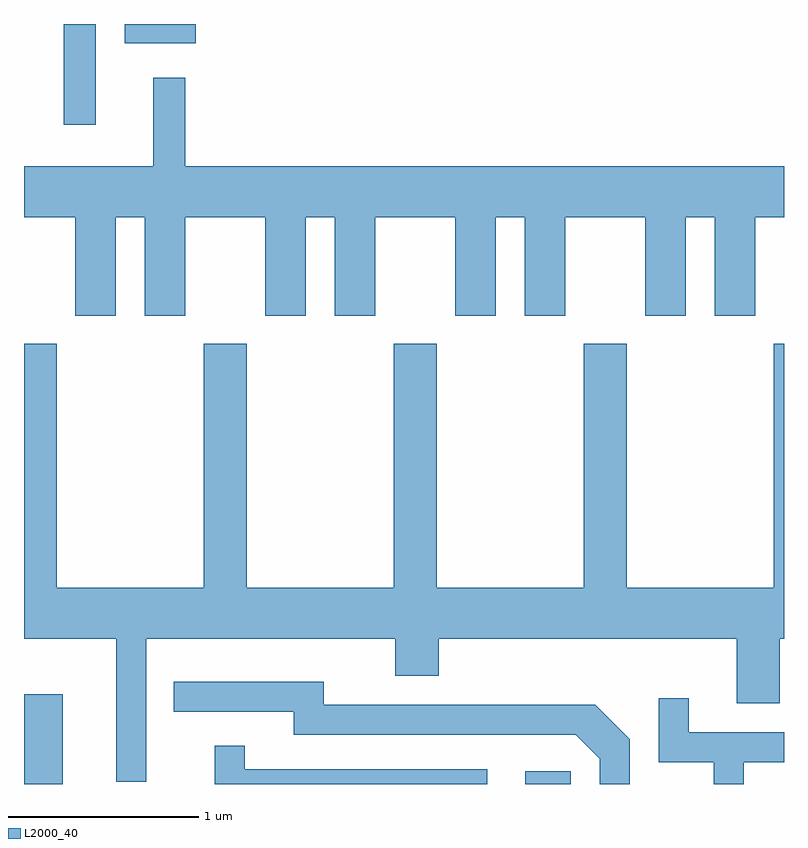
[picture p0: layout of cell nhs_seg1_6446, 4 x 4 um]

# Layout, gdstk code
import gdstk
lib = gdstk.Library(unit=1e-6, precision=1e-09)
def R(c, l, rs):  # rectangles x0, y0, x1, y1
    for r in rs: c.add(gdstk.rectangle(r[:2], r[2:], *l))
def P(c, l, *ps):  # polygons
    for p in ps: c.add(gdstk.Polygon(p, *l))
L2000_40 = (2000, 40)

nhs_seg1_6446 = lib.new_cell('nhs_seg1_6446')
R(nhs_seg1_6446, L2000_40, [(379.611,887.712,379.814,888.184), (382.248,887.712,382.489,887.779), (379.821,891.183,379.989,891.712), (380.141,891.611,380.514,891.712)])
P(nhs_seg1_6446, L2000_40, [(380.094,890.696),(380.246,890.696),(380.246,890.176),(380.459,890.176),(380.459,890.696),(380.881,890.696),(380.881,890.176),(381.094,890.176),(381.094,890.696),(381.246,890.696),(381.246,890.176),(381.459,890.176),(381.459,890.696),(381.881,890.696),(381.881,890.176),(382.094,890.176),(382.094,890.696),(382.246,890.696),(382.246,890.176),(382.459,890.176),(382.459,890.696),(382.881,890.696),(382.881,890.176),(383.094,890.176),(383.094,890.696),(383.246,890.696),(383.246,890.176),(383.459,890.176),(383.459,890.696),(383.611,890.696),(383.611,890.964),(380.459,890.964),(380.459,891.428),(380.291,891.428),(380.291,890.964),(379.611,890.964),(379.611,890.696),(379.881,890.696),(379.881,890.176),(380.094,890.176)],
  [(380.254,888.476),(381.566,888.476),(381.566,888.281),(381.794,888.281),(381.794,888.476),(383.361,888.476),(383.361,888.136),(383.589,888.136),(383.589,888.476),(383.611,888.476),(383.611,890.029),(383.556,890.029),(383.556,888.744),(382.784,888.744),(382.784,890.029),(382.556,890.029),(382.556,888.744),(381.784,888.744),(381.784,890.029),(381.556,890.029),(381.556,888.744),(380.784,888.744),(380.784,890.029),(380.556,890.029),(380.556,888.744),(379.784,888.744),(379.784,890.029),(379.611,890.029),(379.611,888.476),(380.096,888.476),(380.096,887.723),(380.254,887.723)],
  [(382.799,887.947),(382.617,888.129),(381.189,888.129),(381.189,888.249),(380.398,888.249),(380.398,888.091),(381.031,888.091),(381.031,887.971),(382.514,887.971),(382.641,887.844),(382.641,887.712),(382.799,887.712)],
  [(383.399,887.826),(383.611,887.826),(383.611,887.984),(383.109,887.984),(383.109,888.163),(382.951,888.163),(382.951,887.826),(383.241,887.826),(383.241,887.712),(383.399,887.712)],
  [(382.048,887.789),(380.774,887.789),(380.774,887.913),(380.616,887.913),(380.616,887.712),(382.048,887.712)])

lib.write_gds('nhs_seg1_6446.gds')
